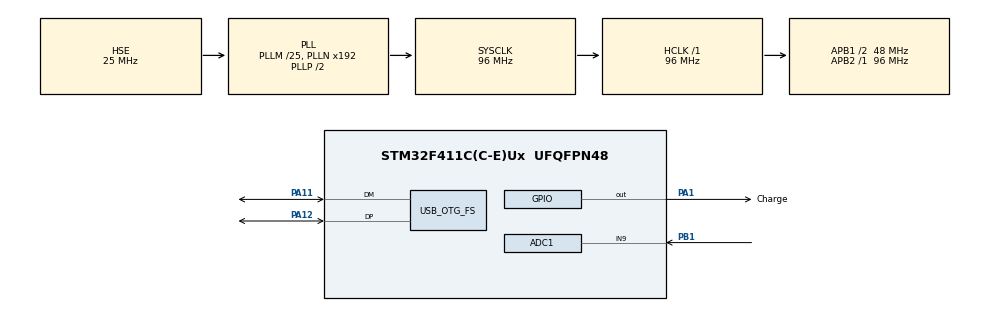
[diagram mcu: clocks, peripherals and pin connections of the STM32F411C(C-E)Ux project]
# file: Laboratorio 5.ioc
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ADC1.Channel-3\#ChannelRegularConversion=ADC_CHANNEL_9
ADC1.ContinuousConvMode=DISABLE
ADC1.NbrOfConversionFlag=1
ADC1.Rank-3\#ChannelRegularConversion=1
ADC1.SamplingTime-3\#ChannelRegularConversion=ADC_SAMPLETIME_480CYCLES
ADC1.master=1
Mcu.Family=STM32F4
Mcu.Name=STM32F411C(C-E)Ux
Mcu.Package=UFQFPN48
NVIC.OTG_FS_IRQn=true\:1\:0\:true\:false\:true\:false\:true\:true
NVIC.PriorityGroup=NVIC_PRIORITYGROUP_4
PA1.GPIO_Label=Charge
PA1.GPIO_PuPd=GPIO_PULLDOWN
PA1.Signal=GPIO_Output
PA11.Mode=Device_Only
PA11.Signal=USB_OTG_FS_DM
PA12.Mode=Device_Only
PA12.Signal=USB_OTG_FS_DP
PA13.Mode=Serial_Wire
PA13.Signal=SYS_JTMS-SWDIO
PA14.Mode=Serial_Wire
PA14.Signal=SYS_JTCK-SWCLK
PB1.Signal=ADCx_IN9
PH0\ -\ OSC_IN.Mode=HSE-External-Oscillator
PH0\ -\ OSC_IN.Signal=RCC_OSC_IN
PH1\ -\ OSC_OUT.Mode=HSE-External-Oscillator
PH1\ -\ OSC_OUT.Signal=RCC_OSC_OUT
ProjectManager.HeapSize=0x200
ProjectManager.StackSize=0x400
ProjectManager.TargetToolchain=STM32CubeIDE
RCC.48MHZClocksFreq_Value=48000000
RCC.AHBFreq_Value=96000000
RCC.APB1CLKDivider=RCC_HCLK_DIV2
RCC.APB1Freq_Value=48000000
RCC.APB1TimFreq_Value=96000000
RCC.APB2Freq_Value=96000000
RCC.APB2TimFreq_Value=96000000
RCC.CortexFreq_Value=96000000
RCC.HCLKFreq_Value=96000000
RCC.HSE_VALUE=25000000
RCC.HSI_VALUE=16000000
RCC.LSE_VALUE=32768
RCC.PLLM=25
RCC.SYSCLKFreq_VALUE=96000000
RCC.SYSCLKSource=RCC_SYSCLKSOURCE_PLLCLK
RCC.VCOOutputFreq_Value=192000000
SH.ADCx_IN9.0=ADC1_IN9,IN9
TIM3.Prescaler=9600
TIM4.AutoReloadPreload=TIM_AUTORELOAD_PRELOAD_DISABLE
TIM4.ClockDivision=TIM_CLOCKDIVISION_DIV1
TIM4.Period=65000
TIM4.Prescaler=48000
USB_DEVICE.CLASS_NAME_FS=CDC
USB_DEVICE.VirtualMode=Cdc
USB_DEVICE.VirtualModeFS=Cdc_FS
USB_OTG_FS.VirtualMode=Device_Only
VP_TIM3_VS_ClockSourceINT.Mode=Internal
VP_TIM4_VS_ClockSourceINT.Mode=Internal
VP_USB_DEVICE_VS_USB_DEVICE_CDC_FS.Mode=CDC_FS
board=custom

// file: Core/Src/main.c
/* USER CODE BEGIN Header */
/**
  ******************************************************************************
  * @file           : main.c
  * @brief          : Main program body
  ******************************************************************************
  * @attention
  *
  * Copyright (c) 2022 STMicroelectronics.
  * All rights reserved.
  *
  * This software is licensed under terms that can be found in the LICENSE file
  * in the root directory of this software component.
  * If no LICENSE file comes with this software, it is provided AS-IS.
  *
  ******************************************************************************
  */
/* USER CODE END Header */
#include "main.h"
#include "usb_device.h"

/* USER CODE BEGIN Includes */
#include "usbd_cdc_if.h"
#include "math.h"
/* USER CODE END Includes */

/* USER CODE BEGIN PTD */
#define Start 0x06
#define Stop 0x07
/* USER CODE END PTD */

/* USER CODE BEGIN PM */
void Clear();
void Send(int Cmd, int Info);
/* USER CODE END PM */

 ADC_HandleTypeDef hadc1;

TIM_HandleTypeDef htim3;
TIM_HandleTypeDef htim4;

/* USER CODE BEGIN PV */
double Time,ValT,rpm;
double TaoStart,TaoEnd,TaoTime,AuxTime=0;
uint8_t FlagCarga=0,FlagDescarga=0,TaoFlag=0;
uint8_t texto[32],SendFlag=0,AuxLen=0,contador=90;
uint16_t VAdc=0;
int Flag=0,Sensorcounter=0,ft=0,st=0,Aux=0,pwm=0,Encendido;
/* USER CODE END PV */

void SystemClock_Config(void);
static void MX_GPIO_Init(void);
static void MX_ADC1_Init(void);
static void MX_TIM4_Init(void);
static void MX_TIM3_Init(void);

int main(void)
{

  /* MCU Configuration--------------------------------------------------------*/

  /* Reset of all peripherals, Initializes the Flash interface and the Systick. */
  HAL_Init();

  /* Configure the system clock */
  SystemClock_Config();

  /* Initialize all configured peripherals */
  MX_GPIO_Init();
  MX_ADC1_Init();
  MX_USB_DEVICE_Init();
  MX_TIM4_Init();
  MX_TIM3_Init();
  /* USER CODE BEGIN 2 */

  HAL_TIM_Base_Start(&htim3);
  HAL_TIM_Base_Start(&htim4);

  float VCap=0;
  /* USER CODE END 2 */

  /* Infinite loop */
  /* USER CODE BEGIN WHILE */
  while (1){
	  if(SendFlag==1){
		  if(__HAL_TIM_GET_COUNTER(&htim3)>=(100) ){	//100ms
	  	  	  HAL_ADC_Start(&hadc1);
			  HAL_ADC_PollForConversion(&hadc1, 10);
	  	  	  VAdc=HAL_ADC_GetValue(&hadc1);
			  HAL_ADC_Stop(&hadc1);
			  VCap=(VAdc)*(3.3/4096);
			  Send(01,VAdc);

			  if(__HAL_TIM_GET_COUNTER(&htim4)>=30000 && TaoFlag==1){
				  TaoTime=__HAL_TIM_GET_COUNTER(&htim4);
				  __HAL_TIM_SET_COUNTER(&htim4, 0);
			  }
			  if(FlagCarga==1){
				  if(VCap<0.09){
					  FlagCarga=0;
					  HAL_GPIO_WritePin(Charge_GPIO_Port, Charge_Pin, SET);
					  Encendido=1;
				  }
			  }
			  else if(FlagDescarga==1){
				  if(VCap>3.2){
					  FlagDescarga=0;
					  HAL_GPIO_WritePin(Charge_GPIO_Port, Charge_Pin, RESET);
					  Encendido=2;
				  }
			  }
			  if(VCap<0.09 && Encendido==1){
				  TaoFlag=1;
				  TaoTime=0;
				  __HAL_TIM_SET_COUNTER(&htim4, 0);

			  }
			  else if(VCap>3.18 && Encendido==2){
				    TaoFlag=1;
				    TaoTime=0;
				  __HAL_TIM_SET_COUNTER(&htim4, 0);
			  }
			  else if(TaoFlag==1){

				 if((VCap>=2.079 && Encendido==1)){
					 TaoTime += (__HAL_TIM_GET_COUNTER(&htim4)/2);
					 HAL_Delay(1);
					 Send(04, TaoTime);

					 TaoFlag=0;

				 }
				 else if(VCap<=1.221 && Encendido==2){
					 TaoTime += __HAL_TIM_GET_COUNTER(&htim4)/2;
					 HAL_Delay(1);
					 Send(04, TaoTime);
					 TaoFlag=0;
				 }
			  }

			  __HAL_TIM_SET_COUNTER(&htim3, 0);
		  }

	  }

    /* USER CODE END WHILE */

  }
}

void SystemClock_Config(void)
{
  RCC_OscInitTypeDef RCC_OscInitStruct = {0};
  RCC_ClkInitTypeDef RCC_ClkInitStruct = {0};

  /** Configure the main internal regulator output voltage
  */
  __HAL_RCC_PWR_CLK_ENABLE();
  __HAL_PWR_VOLTAGESCALING_CONFIG(PWR_REGULATOR_VOLTAGE_SCALE1);

  /** Initializes the RCC Oscillators according to the specified parameters
  * in the RCC_OscInitTypeDef structure.
  */
  RCC_OscInitStruct.OscillatorType = RCC_OSCILLATORTYPE_HSE;
  RCC_OscInitStruct.HSEState = RCC_HSE_ON;
  RCC_OscInitStruct.PLL.PLLState = RCC_PLL_ON;
  RCC_OscInitStruct.PLL.PLLSource = RCC_PLLSOURCE_HSE;
  RCC_OscInitStruct.PLL.PLLM = 25;
  RCC_OscInitStruct.PLL.PLLN = 192;
  RCC_OscInitStruct.PLL.PLLP = RCC_PLLP_DIV2;
  RCC_OscInitStruct.PLL.PLLQ = 4;
  if (HAL_RCC_OscConfig(&RCC_OscInitStruct) != HAL_OK)
  {
    Error_Handler();
  }

  /** Initializes the CPU, AHB and APB buses clocks
  */
  RCC_ClkInitStruct.ClockType = RCC_CLOCKTYPE_HCLK|RCC_CLOCKTYPE_SYSCLK
                              |RCC_CLOCKTYPE_PCLK1|RCC_CLOCKTYPE_PCLK2;
  RCC_ClkInitStruct.SYSCLKSource = RCC_SYSCLKSOURCE_PLLCLK;
  RCC_ClkInitStruct.AHBCLKDivider = RCC_SYSCLK_DIV1;
  RCC_ClkInitStruct.APB1CLKDivider = RCC_HCLK_DIV2;
  RCC_ClkInitStruct.APB2CLKDivider = RCC_HCLK_DIV1;

  if (HAL_RCC_ClockConfig(&RCC_ClkInitStruct, FLASH_LATENCY_3) != HAL_OK)
  {
    Error_Handler();
  }
}

static void MX_ADC1_Init(void)
{

  ADC_ChannelConfTypeDef sConfig = {0};

  /** Configure the global features of the ADC (Clock, Resolution, Data Alignment and number of conversion)
  */
  hadc1.Instance = ADC1;
  hadc1.Init.ClockPrescaler = ADC_CLOCK_SYNC_PCLK_DIV4;
  hadc1.Init.Resolution = ADC_RESOLUTION_12B;
  hadc1.Init.ScanConvMode = DISABLE;
  hadc1.Init.ContinuousConvMode = DISABLE;
  hadc1.Init.DiscontinuousConvMode = DISABLE;
  hadc1.Init.ExternalTrigConvEdge = ADC_EXTERNALTRIGCONVEDGE_NONE;
  hadc1.Init.ExternalTrigConv = ADC_SOFTWARE_START;
  hadc1.Init.DataAlign = ADC_DATAALIGN_RIGHT;
  hadc1.Init.NbrOfConversion = 1;
  hadc1.Init.DMAContinuousRequests = DISABLE;
  hadc1.Init.EOCSelection = ADC_EOC_SINGLE_CONV;
  if (HAL_ADC_Init(&hadc1) != HAL_OK)
  {
    Error_Handler();
  }

  /** Configure for the selected ADC regular channel its corresponding rank in the sequencer and its sample time.
  */
  sConfig.Channel = ADC_CHANNEL_9;
  sConfig.Rank = 1;
  sConfig.SamplingTime = ADC_SAMPLETIME_480CYCLES;
  if (HAL_ADC_ConfigChannel(&hadc1, &sConfig) != HAL_OK)
  {
    Error_Handler();
  }

}

static void MX_TIM3_Init(void)
{

  TIM_ClockConfigTypeDef sClockSourceConfig = {0};
  TIM_MasterConfigTypeDef sMasterConfig = {0};

  htim3.Instance = TIM3;
  htim3.Init.Prescaler = 9600;
  htim3.Init.CounterMode = TIM_COUNTERMODE_UP;
  htim3.Init.Period = 65535;
  htim3.Init.ClockDivision = TIM_CLOCKDIVISION_DIV1;
  htim3.Init.AutoReloadPreload = TIM_AUTORELOAD_PRELOAD_DISABLE;
  if (HAL_TIM_Base_Init(&htim3) != HAL_OK)
  {
    Error_Handler();
  }
  sClockSourceConfig.ClockSource = TIM_CLOCKSOURCE_INTERNAL;
  if (HAL_TIM_ConfigClockSource(&htim3, &sClockSourceConfig) != HAL_OK)
  {
    Error_Handler();
  }
  sMasterConfig.MasterOutputTrigger = TIM_TRGO_RESET;
  sMasterConfig.MasterSlaveMode = TIM_MASTERSLAVEMODE_DISABLE;
  if (HAL_TIMEx_MasterConfigSynchronization(&htim3, &sMasterConfig) != HAL_OK)
  {
    Error_Handler();
  }

}

static void MX_TIM4_Init(void)
{

  TIM_ClockConfigTypeDef sClockSourceConfig = {0};
  TIM_MasterConfigTypeDef sMasterConfig = {0};

  htim4.Instance = TIM4;
  htim4.Init.Prescaler = 48000;
  htim4.Init.CounterMode = TIM_COUNTERMODE_UP;
  htim4.Init.Period = 65000;
  htim4.Init.ClockDivision = TIM_CLOCKDIVISION_DIV1;
  htim4.Init.AutoReloadPreload = TIM_AUTORELOAD_PRELOAD_DISABLE;
  if (HAL_TIM_Base_Init(&htim4) != HAL_OK)
  {
    Error_Handler();
  }
  sClockSourceConfig.ClockSource = TIM_CLOCKSOURCE_INTERNAL;
  if (HAL_TIM_ConfigClockSource(&htim4, &sClockSourceConfig) != HAL_OK)
  {
    Error_Handler();
  }
  sMasterConfig.MasterOutputTrigger = TIM_TRGO_RESET;
  sMasterConfig.MasterSlaveMode = TIM_MASTERSLAVEMODE_DISABLE;
  if (HAL_TIMEx_MasterConfigSynchronization(&htim4, &sMasterConfig) != HAL_OK)
  {
    Error_Handler();
  }

}

static void MX_GPIO_Init(void)
{
  GPIO_InitTypeDef GPIO_InitStruct = {0};

  /* GPIO Ports Clock Enable */
  __HAL_RCC_GPIOH_CLK_ENABLE();
  __HAL_RCC_GPIOA_CLK_ENABLE();
  __HAL_RCC_GPIOB_CLK_ENABLE();

  /*Configure GPIO pin Output Level */
  HAL_GPIO_WritePin(Charge_GPIO_Port, Charge_Pin, GPIO_PIN_RESET);

  /*Configure GPIO pin : Charge_Pin */
  GPIO_InitStruct.Pin = Charge_Pin;
  GPIO_InitStruct.Mode = GPIO_MODE_OUTPUT_PP;
  GPIO_InitStruct.Pull = GPIO_PULLDOWN;
  GPIO_InitStruct.Speed = GPIO_SPEED_FREQ_LOW;
  HAL_GPIO_Init(Charge_GPIO_Port, &GPIO_InitStruct);

}

/* USER CODE BEGIN 4 */

void Send(int Cmd, int Info){

	//Cmd=0  Rpm
	//Cmd=1	 mA
	int Size=0x00,Parity=0,Contador=0;
	uint8_t *Data;

	if(Info<256){
		Size=0x01;
		Data=(uint8_t*)malloc(6*sizeof(int));
		Data[3]=Info;
	}
	else{
		Size=0x02;
		Data=(uint8_t*)malloc(7*sizeof(int));
		Data[3]=0x00FF & (Info >> 8);
		Data[4]=0x00FF & Info;
	}

	Data[0]=Start;
	Data[1]=Size;
	Data[2]=Cmd;
	for(Contador=0;Contador<Size+3;Contador++){
		Parity^=Data[Contador];
	}
	Data[Size+3]=Parity;
	Data[Size+4]=Stop;

	Contador=sizeof(Data);
	CDC_Transmit_FS(Data,Size+5);
	free(Data);
}

void CDC_ReceiveCallBack(uint8_t* Buf, uint32_t Len){
	int Cmd,Aux,Parity=0,Size;
	double Temp;
	for(Aux=0;Aux<=Len;Aux++){
		Temp=Buf[Aux];
	}

	if(Buf[0]==Start && Buf[Len-1]==Stop){ //Protocolo
		Size=Buf[1];
		Cmd=Buf[2];
		if(Size==1){
			Temp=Buf[3];
		}
		else if(Size==2){
			Temp=(Buf[3]<< 8) | Buf[4];
		}
		for(Aux=0;Aux<Size+3;Aux++){
			Parity^=Buf[Aux];
		}
		Aux=Buf[Size+3];
		if(Buf[Size+3]==Parity){
			if(Cmd==1){ //Le pide a la STM enviar Info
				SendFlag=1;
			}
			else if(Cmd == 2){
				Encendido=1;
				HAL_GPIO_WritePin(Charge_GPIO_Port, Charge_Pin, SET);
			}
			else if(Cmd==3){
				Encendido=2;
				HAL_GPIO_WritePin(Charge_GPIO_Port, Charge_Pin, RESET);
			}
			else if(Cmd==4){
				FlagCarga=1;//Se coloca en modo para que cuando se haya descargado se le envie una señal para volverlo a cargar
				HAL_GPIO_WritePin(Charge_GPIO_Port, Charge_Pin, RESET);
			}
			else if(Cmd==5){
				FlagDescarga=1;
				HAL_GPIO_WritePin(Charge_GPIO_Port, Charge_Pin, SET);
			}
		}
	}
}

/* USER CODE END 4 */

void Error_Handler(void)
{
  __disable_irq();
  while (1)
  {
  }
}
